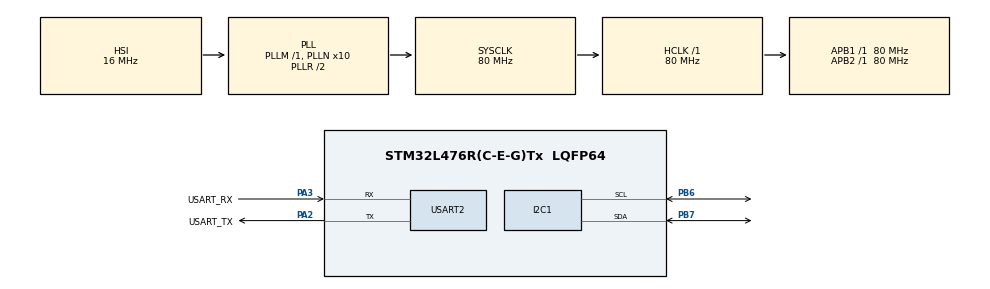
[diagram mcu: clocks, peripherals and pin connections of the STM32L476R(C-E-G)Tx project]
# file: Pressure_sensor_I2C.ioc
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I2C1.Timing=0x10909CEC
Mcu.Family=STM32L4
Mcu.Name=STM32L476R(C-E-G)Tx
Mcu.Package=LQFP64
NVIC.PriorityGroup=NVIC_PRIORITYGROUP_4
PA13\ (JTMS-SWDIO).GPIO_Label=TMS
PA13\ (JTMS-SWDIO).Mode=Serial_Wire
PA13\ (JTMS-SWDIO).Signal=SYS_JTMS-SWDIO
PA14\ (JTCK-SWCLK).GPIO_Label=TCK
PA14\ (JTCK-SWCLK).Mode=Serial_Wire
PA14\ (JTCK-SWCLK).Signal=SYS_JTCK-SWCLK
PA2.GPIO_Label=USART_TX
PA2.GPIO_Mode=GPIO_MODE_AF_PP
PA2.GPIO_PuPd=GPIO_NOPULL
PA2.GPIO_Speed=GPIO_SPEED_FREQ_VERY_HIGH
PA2.Mode=Asynchronous
PA2.Signal=USART2_TX
PA3.GPIO_Label=USART_RX
PA3.GPIO_Mode=GPIO_MODE_AF_PP
PA3.GPIO_PuPd=GPIO_NOPULL
PA3.GPIO_Speed=GPIO_SPEED_FREQ_VERY_HIGH
PA3.Mode=Asynchronous
PA3.Signal=USART2_RX
PB6.Mode=I2C
PB6.Signal=I2C1_SCL
PB7.Mode=I2C
PB7.Signal=I2C1_SDA
ProjectManager.HeapSize=0x200
ProjectManager.StackSize=0x400
ProjectManager.TargetToolchain=STM32CubeIDE
RCC.ADCFreq_Value=64000000
RCC.AHBFreq_Value=80000000
RCC.APB1Freq_Value=80000000
RCC.APB1TimFreq_Value=80000000
RCC.APB2Freq_Value=80000000
RCC.APB2TimFreq_Value=80000000
RCC.CortexFreq_Value=80000000
RCC.HCLKFreq_Value=80000000
RCC.HSE_VALUE=8000000
RCC.HSI_VALUE=16000000
RCC.LSE_VALUE=32768
RCC.MSI_VALUE=4000000
RCC.PLLN=10
RCC.PLLSourceVirtual=RCC_PLLSOURCE_HSI
RCC.PREFETCH_ENABLE=1
RCC.SYSCLKFreq_VALUE=80000000
RCC.SYSCLKSource=RCC_SYSCLKSOURCE_PLLCLK
RCC.USBFreq_Value=64000000
RCC.VCOOutputFreq_Value=160000000
USART2.VirtualMode-Asynchronous=VM_ASYNC
board=NUCLEO-L476RG

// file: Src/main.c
/* USER CODE BEGIN Header */
/**
  ******************************************************************************
  * @file           : main.c
  * @brief          : Main program body
  ******************************************************************************
  * @attention
  *
  * Copyright (c) 2024 STMicroelectronics.
  * All rights reserved.
  *
  * This software is licensed under terms that can be found in the LICENSE file
  * in the root directory of this software component.
  * If no LICENSE file comes with this software, it is provided AS-IS.
  *
  ******************************************************************************
  */
/* USER CODE END Header */
#include "main.h"
#include "i2c.h"
#include "usart.h"
#include "gpio.h"

/* USER CODE BEGIN Includes */
#include <stdio.h>
#include "lps25hb.h"
#include <math.h>
/* USER CODE END Includes */

void SystemClock_Config(void);

/* USER CODE BEGIN 0 */
int __io_putchar(int ch)
{
  if (ch == '\n') {
    __io_putchar('\r');
  }

  HAL_UART_Transmit(&huart2, (uint8_t*)&ch, 1, HAL_MAX_DELAY);

  return 1;
}

/* USER CODE END 0 */

int main(void)
{

  /* MCU Configuration--------------------------------------------------------*/

  /* Reset of all peripherals, Initializes the Flash interface and the Systick. */
  HAL_Init();

  /* Configure the system clock */
  SystemClock_Config();

  /* Initialize all configured peripherals */
  MX_GPIO_Init();
  MX_USART2_UART_Init();
  MX_I2C1_Init();

  /* Infinite loop */
  /* USER CODE BEGIN WHILE */
  printf("Searching...\n");
  if (lps25hb_init() == HAL_OK) {
    printf("OK: LPS25HB\n");
  } else {
    printf("Error: LPS25HB not found\n");
    Error_Handler();
  }

  HAL_Delay(5000);

  float p0 = lps25hb_read_pressure();

  while (1)
  {
    float temp = lps25hb_read_temp() + 273.15;
    float p = lps25hb_read_pressure();
    float h = -29.271769 * temp * log(p / p0);

    printf("h = %.2f m\n", h);
    HAL_Delay(1000);
    /* USER CODE END WHILE */

  }
}

void SystemClock_Config(void)
{
  RCC_OscInitTypeDef RCC_OscInitStruct = {0};
  RCC_ClkInitTypeDef RCC_ClkInitStruct = {0};

  /** Configure the main internal regulator output voltage
  */
  if (HAL_PWREx_ControlVoltageScaling(PWR_REGULATOR_VOLTAGE_SCALE1) != HAL_OK)
  {
    Error_Handler();
  }

  /** Initializes the RCC Oscillators according to the specified parameters
  * in the RCC_OscInitTypeDef structure.
  */
  RCC_OscInitStruct.OscillatorType = RCC_OSCILLATORTYPE_HSI;
  RCC_OscInitStruct.HSIState = RCC_HSI_ON;
  RCC_OscInitStruct.HSICalibrationValue = RCC_HSICALIBRATION_DEFAULT;
  RCC_OscInitStruct.PLL.PLLState = RCC_PLL_ON;
  RCC_OscInitStruct.PLL.PLLSource = RCC_PLLSOURCE_HSI;
  RCC_OscInitStruct.PLL.PLLM = 1;
  RCC_OscInitStruct.PLL.PLLN = 10;
  RCC_OscInitStruct.PLL.PLLP = RCC_PLLP_DIV7;
  RCC_OscInitStruct.PLL.PLLQ = RCC_PLLQ_DIV2;
  RCC_OscInitStruct.PLL.PLLR = RCC_PLLR_DIV2;
  if (HAL_RCC_OscConfig(&RCC_OscInitStruct) != HAL_OK)
  {
    Error_Handler();
  }

  /** Initializes the CPU, AHB and APB buses clocks
  */
  RCC_ClkInitStruct.ClockType = RCC_CLOCKTYPE_HCLK|RCC_CLOCKTYPE_SYSCLK
                              |RCC_CLOCKTYPE_PCLK1|RCC_CLOCKTYPE_PCLK2;
  RCC_ClkInitStruct.SYSCLKSource = RCC_SYSCLKSOURCE_PLLCLK;
  RCC_ClkInitStruct.AHBCLKDivider = RCC_SYSCLK_DIV1;
  RCC_ClkInitStruct.APB1CLKDivider = RCC_HCLK_DIV1;
  RCC_ClkInitStruct.APB2CLKDivider = RCC_HCLK_DIV1;

  if (HAL_RCC_ClockConfig(&RCC_ClkInitStruct, FLASH_LATENCY_4) != HAL_OK)
  {
    Error_Handler();
  }
}

void Error_Handler(void)
{
  __disable_irq();
  while (1)
  {
  }
}
